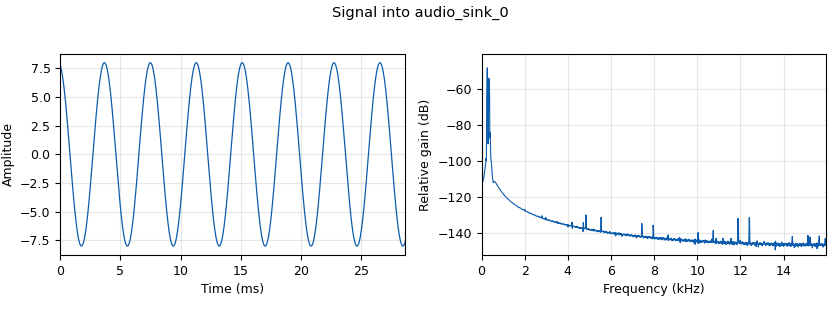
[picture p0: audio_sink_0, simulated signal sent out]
<?xml version='1.0' encoding='utf-8'?>
<?grc format='1' created='3.7.9'?>
<flow_graph>
<block>
<key>options</key>
<param><key>id</key><value>top_block</value></param>
<param><key>category</key><value>Custom</value></param>
<param><key>generate_options</key><value>qt_gui</value></param>
</block>
<block>
<key>variable</key>
<param><key>id</key><value>samp_rate</value></param>
<param><key>value</key><value>32000</value></param>
</block>
<block>
<key>audio_sink</key>
<param><key>id</key><value>audio_sink_0</value></param>
<param><key>samp_rate</key><value>samp_rate</value></param>
</block>
<block>
<key>blocks_repeat</key>
<param><key>id</key><value>blocks_repeat_0</value></param>
<param><key>interp</key><value>16000</value></param>
<param><key>type</key><value>float</value></param>
</block>
<block>
<key>blocks_throttle</key>
<param><key>id</key><value>blocks_throttle_0</value></param>
<param><key>samples_per_second</key><value>samp_rate</value></param>
<param><key>type</key><value>float</value></param>
</block>
<block>
<key>blocks_vco_f</key>
<param><key>id</key><value>blocks_vco_f_0</value></param>
<param><key>amplitude</key><value>8</value></param>
<param><key>samp_rate</key><value>32000</value></param>
<param><key>sensitivity</key><value>6.28</value></param>
</block>
<block>
<key>blocks_vector_source_x</key>
<param><key>id</key><value>blocks_vector_source_x_0</value></param>
<param><key>type</key><value>float</value></param>
<param><key>repeat</key><value>True</value></param>
<param><key>vector</key><value>(262, 262,294,262,349,330,262,262,294,262,392,349,262,262,523,440,349,330,294,466,466,440,392,349,330,466,466,440,349,392,349)</value></param>
</block>
<connection><source_block_id>blocks_repeat_0</source_block_id><sink_block_id>blocks_vco_f_0</sink_block_id><source_key>0</source_key><sink_key>0</sink_key></connection>
<connection><source_block_id>blocks_throttle_0</source_block_id><sink_block_id>audio_sink_0</sink_block_id><source_key>0</source_key><sink_key>0</sink_key></connection>
<connection><source_block_id>blocks_vco_f_0</source_block_id><sink_block_id>blocks_throttle_0</sink_block_id><source_key>0</source_key><sink_key>0</sink_key></connection>
<connection><source_block_id>blocks_vector_source_x_0</source_block_id><sink_block_id>blocks_repeat_0</sink_block_id><source_key>0</source_key><sink_key>0</sink_key></connection>
</flow_graph>
